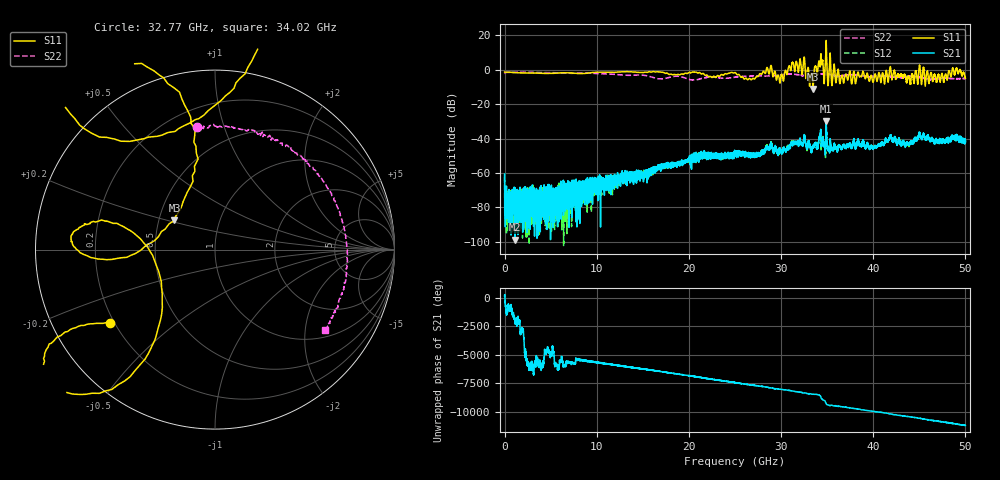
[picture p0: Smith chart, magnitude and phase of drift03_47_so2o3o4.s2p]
!Created with skrf (http://scikit-rf.org).
# Hz S RI R 50.0
!freq ReS11 ImS11 ReS21 ImS21 ReS12 ImS12 ReS22 ImS22
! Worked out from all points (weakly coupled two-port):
!   10001 points, 300 kHz to 50 GHz, reference 50 ohm
!   highest |S21| = -29.93 dB at 34.9 GHz (marker M1); lowest = -98.7 dB at 1.14 GHz (marker M2)
!   lowest |S11| = -11.1 dB at 33.47 GHz (marker M3), VSWR 1.77, Z = 30.2 + j10.6 ohm
!   |S11| at or under -10 dB: 33.44925 GHz to 33.48394 GHz (34.69 MHz wide, 0.104 % of centre)
!   |S22| runs from -5.9 to -1.3 dB; largest |S21 - S12| = 0.0077
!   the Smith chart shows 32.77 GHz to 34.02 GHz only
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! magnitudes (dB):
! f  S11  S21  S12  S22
! 300 kHz  -1.3  -60.5  -62.0  -2.1
! 260.3 MHz  -1.3  -71.6  -78.4  -1.4
! 1.14 GHz  -1.6  -98.7  -72.4  -1.5
! 5.365 GHz  -2.0  -71.9  -84.1  -1.6
! 8.335 GHz  -2.2  -66.0  -70.8  -1.9
! 16.67 GHz  -1.1  -56.9  -56.0  -5.2
! 25 GHz  -1.5  -49.5  -48.7  -4.2
! 26.92 GHz  -4.9  -49.1  -49.0  -3.6
! 28.73 GHz  -2.2  -45.5  -45.4  -3.5
! 30.06 GHz  -2.5  -48.2  -48.4  -2.8
! 31.08 GHz  -0.2  -43.0  -43.4  -2.4
! 31.87 GHz  -1.4  -41.1  -41.9  -2.9
! 33.34 GHz  -2.2  -47.3  -46.9  -2.9
! 33.47 GHz  -11.1  -44.8  -44.7  -2.8
! 34.3 GHz  7.6  -34.9  -35.3  -2.3
! 34.9 GHz  17.1  -29.9  -31.7  -2.4
! 36.58 GHz  -3.4  -45.8  -45.9  -3.5
! 40.15 GHz  -2.9  -44.9  -44.3  -3.8
! 41.67 GHz  -5.5  -40.7  -40.5  -3.7
! 47.06 GHz  -2.8  -41.3  -41.5  -5.1
! 49.21 GHz  -2.1  -39.4  -38.8  -5.1
! 50 GHz  -4.9  -41.5  -41.9  -4.9
